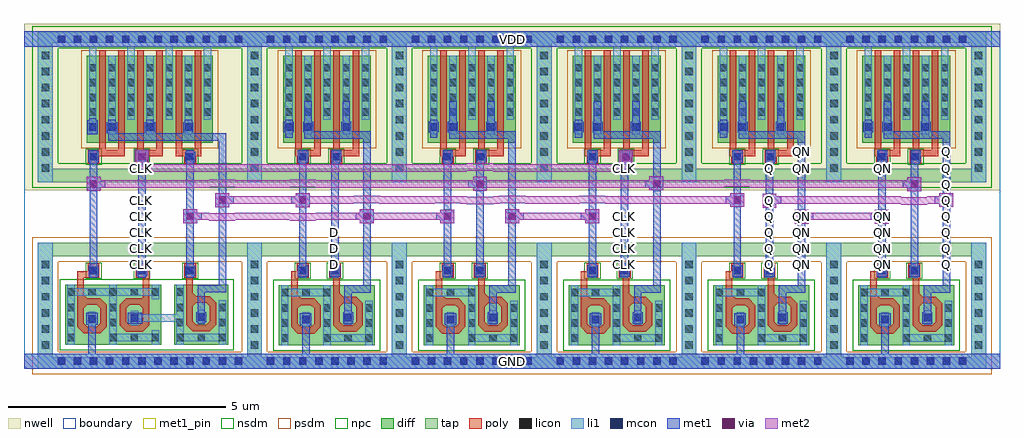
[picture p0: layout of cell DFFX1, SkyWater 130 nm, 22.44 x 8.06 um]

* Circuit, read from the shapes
.subckt DFFX1 CLK D GND Q QN VDD
XM1 n1 n2 GND GND sky130_fd_pr__nfet_01v8 w=2.6 l=0.1481
XM2 n1 CLK n3 GND sky130_fd_pr__nfet_01v8 w=2.52 l=0.1455
XM3 n3 n4 n5 GND sky130_fd_pr__nfet_01v8 w=2.56 l=0.1456
XM4 n6 n5 GND GND sky130_fd_pr__nfet_01v8 w=2.6 l=0.1473
XM5 n6 D n4 GND sky130_fd_pr__nfet_01v8 w=2.56 l=0.1481
XM6 n7 n4 GND GND sky130_fd_pr__nfet_01v8 w=2.6 l=0.1473
XM7 n7 n2 n8 GND sky130_fd_pr__nfet_01v8 w=2.56 l=0.1482
XM8 n9 n8 GND GND sky130_fd_pr__nfet_01v8 w=2.6 l=0.1473
XM9 n9 CLK n2 GND sky130_fd_pr__nfet_01v8 w=2.56 l=0.1481
XM10 n10 n5 GND GND sky130_fd_pr__nfet_01v8 w=2.6 l=0.1472
XM11 n10 Q QN GND sky130_fd_pr__nfet_01v8 w=2.56 l=0.1483
XM12 n11 QN GND GND sky130_fd_pr__nfet_01v8 w=2.6 l=0.1473
XM13 n11 n2 Q GND sky130_fd_pr__nfet_01v8 w=2.56 l=0.1482
XM14 n5 n2 VDD VDD sky130_fd_pr__pfet_01v8 w=2 l=0.15 m=2
XM15 n5 CLK VDD VDD sky130_fd_pr__pfet_01v8 w=2 l=0.15 m=2
XM16 n5 n4 VDD VDD sky130_fd_pr__pfet_01v8 w=2 l=0.15 m=2
XM17 n4 n5 VDD VDD sky130_fd_pr__pfet_01v8 w=2 l=0.15 m=2
XM18 n4 D VDD VDD sky130_fd_pr__pfet_01v8 w=2 l=0.15 m=2
XM19 n8 n4 VDD VDD sky130_fd_pr__pfet_01v8 w=2 l=0.15 m=2
XM20 n8 n2 VDD VDD sky130_fd_pr__pfet_01v8 w=2 l=0.15 m=2
XM21 n2 n8 VDD VDD sky130_fd_pr__pfet_01v8 w=2 l=0.15 m=2
XM22 n2 CLK VDD VDD sky130_fd_pr__pfet_01v8 w=2 l=0.15 m=2
XM23 QN n5 VDD VDD sky130_fd_pr__pfet_01v8 w=2 l=0.15 m=2
XM24 QN Q VDD VDD sky130_fd_pr__pfet_01v8 w=2 l=0.15 m=2
XM25 Q QN VDD VDD sky130_fd_pr__pfet_01v8 w=2 l=0.15 m=2
XM26 Q n2 VDD VDD sky130_fd_pr__pfet_01v8 w=2 l=0.15 m=2
.ends

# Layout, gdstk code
from math import pi, radians
import gdstk
lib = gdstk.Library(unit=1e-6, precision=1e-09)
def R(c, l, rs):  # rectangles x0, y0, x1, y1
    for r in rs: c.add(gdstk.rectangle(r[:2], r[2:], *l))
def A(c, l, x, y, w, h, nx, ny, dx, dy):  # array of equal rectangles
    R(c, l, [(x+i*dx, y+j*dy, x+i*dx+w, y+j*dy+h) for i in range(nx) for j in range(ny)])
def P(c, l, *ps):  # polygons
    for p in ps: c.add(gdstk.Polygon(p, *l))
nwell = (64, 20)
diff = (65, 20)
tap = (65, 44)
poly = (66, 20)
licon = (66, 44)
li1 = (67, 20)
mcon = (67, 44)
met1_pin = (68, 16)
met1 = (68, 20)
via = (68, 44)
met2 = (69, 20)
nsdm = (93, 44)
psdm = (94, 20)
npc = (95, 20)
boundary = (235, 4)

li1_m1_contact = lib.new_cell('li1_M1_contact')
R(li1_m1_contact, li1, [(-0.085,-0.165,0.085,0.165)])
R(li1_m1_contact, mcon, [(-0.085,-0.085,0.085,0.085)])
R(li1_m1_contact, met1, [(-0.115,-0.115,0.115,-0.085), (-0.265,-0.085,0.145,0.085), (-0.115,0.085,0.115,0.115)])

diff_ring_side = lib.new_cell('diff_ring_side')
R(diff_ring_side, nwell, [(-0.435,3.93,0.435,7.75)])
R(diff_ring_side, tap, [(-0.17,-0.17,0.17,2.72), (-0.17,4.11,0.17,7.57)])
A(diff_ring_side, licon, -0.085, 0.285, 0.17, 0.17, 1, 6, 0, 0.37)
A(diff_ring_side, licon, -0.085, 4.355, 0.17, 0.17, 1, 8, 0, 0.37)
R(diff_ring_side, li1, [(-0.17,-0.17,0.17,2.72), (-0.17,4.11,0.17,7.57)])
R(diff_ring_side, met1, [(-0.17,-0.17,0.17,0.17), (-0.17,7.23,0.17,7.57)])
R(diff_ring_side, nsdm, [(-0.295,3.985,0.295,7.695)])
R(diff_ring_side, psdm, [(-0.295,-0.295,0.295,2.845)])

nmos_bottom = lib.new_cell('nmos_bottom')
R(nmos_bottom, diff, [(0,0,1.24,1.38)])
R(nmos_bottom, poly, [(0.43,0.27,0.81,0.42), (0.28,0.42,0.43,0.925), (0.81,0.42,0.96,0.925), (0.43,0.925,0.96,1.075), (0.81,1.075,0.96,1.51)])
P(nmos_bottom, poly, [(0.73,1.075),(0.81,1.075),(0.81,1.155)],
  [(0.28,0.925),(0.43,0.925),(0.43,1.075)],
  [(0.43,0.845),(0.43,0.925),(0.51,0.925)],
  [(0.73,0.925),(0.81,0.925),(0.81,0.845)],
  [(0.43,0.5),(0.43,0.42),(0.51,0.42)],
  [(0.73,0.42),(0.81,0.42),(0.81,0.5)],
  [(0.28,0.42),(0.43,0.42),(0.43,0.27)],
  [(0.81,0.27),(0.81,0.42),(0.96,0.42)])
A(nmos_bottom, licon, 0.05, 1.13, 0.17, 0.17, 3, 1, 0.485, 0)
R(nmos_bottom, licon, [(0.05,0.08,0.22,0.25), (1.02,0.08,1.19,0.25), (0.05,0.43,0.22,0.6), (1.02,0.43,1.19,0.6), (0.535,0.505,0.705,0.675), (0.05,0.77,0.22,0.94), (1.02,0.77,1.19,0.94)])
R(nmos_bottom, li1, [(0.05,0,0.22,1.13), (1.02,0,1.19,1.13), (0.535,0.425,0.705,0.755), (0.05,1.13,1.19,1.3), (0.05,1.3,0.22,1.38), (1.02,1.3,1.19,1.38)])
R(nmos_bottom, nsdm, [(-0.125,-0.125,1.365,1.505)])

pmos2 = lib.new_cell('pmos2')
R(pmos2, nwell, [(0.26,-2.18,1.76,0.18)])
R(pmos2, diff, [(0.44,-2,1.58,0)])
R(pmos2, poly, [(0.72,-2.305,1.31,-2.155), (0.72,-2.155,0.87,0.13), (1.16,-2.155,1.31,0.13)])
A(pmos2, licon, 0.49, -1.38, 0.17, 0.17, 3, 4, 0.44, 0.34)
R(pmos2, li1, [(0.49,-1.465,0.66,0.21), (0.93,-1.465,1.1,0), (1.37,-1.465,1.54,0.21)])
R(pmos2, psdm, [(0.315,-2.125,1.705,0.125)])

poly_li1_contact = lib.new_cell('poly_li1_contact')
R(poly_li1_contact, poly, [(-0.16,-0.14,0.17,0.13)])
R(poly_li1_contact, licon, [(-0.08,-0.09,0.09,0.08)])
R(poly_li1_contact, li1, [(-0.16,-0.09,0.17,0.08)])
R(poly_li1_contact, npc, [(-0.18,-0.19,0.19,0.18)])

nmos_top_trim1 = lib.new_cell('nmos_top_trim1')
R(nmos_top_trim1, diff, [(0,0,1.24,1.38)])
R(nmos_top_trim1, poly, [(0.43,0.31,0.81,0.46), (0.28,0.46,0.43,0.965), (0.81,0.46,0.96,0.965), (0.43,0.965,0.96,1.115), (0.81,1.115,0.96,1.545)])
P(nmos_top_trim1, poly, [(0.73,1.115),(0.81,1.115),(0.81,1.195)],
  [(0.28,0.965),(0.43,0.965),(0.43,1.115)],
  [(0.43,0.885),(0.43,0.965),(0.51,0.965)],
  [(0.73,0.965),(0.81,0.965),(0.81,0.885)],
  [(0.43,0.54),(0.43,0.46),(0.51,0.46)],
  [(0.73,0.46),(0.81,0.46),(0.81,0.54)],
  [(0.28,0.46),(0.43,0.46),(0.43,0.31)],
  [(0.81,0.31),(0.81,0.46),(0.96,0.46)])
A(nmos_top_trim1, licon, 0.05, 0.08, 0.17, 0.17, 3, 1, 0.485, 0)
R(nmos_top_trim1, licon, [(0.05,0.43,0.22,0.6), (1.02,0.43,1.19,0.6), (0.535,0.55,0.705,0.72), (0.05,0.77,0.22,0.94), (1.02,0.77,1.19,0.94), (1.02,1.13,1.19,1.3)])
R(nmos_top_trim1, li1, [(0.05,0,0.22,0.08), (1.02,0,1.19,0.08), (0.05,0.08,1.19,0.25), (0.05,0.25,0.22,1.02), (1.02,0.25,1.19,1.38), (0.535,0.47,0.705,0.805)])
R(nmos_top_trim1, nsdm, [(-0.125,-0.125,1.365,1.505)])

nand2x1_pcell = lib.new_cell('nand2x1_pcell')
R(nand2x1_pcell, nwell, [(0.435,3.93,2.895,7.75)])
R(nand2x1_pcell, diff, [(1.115,5.265,1.345,5.5), (1.995,5.265,2.225,5.5), (0.705,5.295,0.875,5.465)])
R(nand2x1_pcell, tap, [(0.17,-0.17,3.16,-0.15), (0.155,-0.15,3.175,0.085), (0.155,2.4,0.17,2.41), (3.16,2.4,3.175,2.41), (0.155,2.41,3.175,2.71), (0.17,2.71,3.16,2.72), (0.17,4.11,3.16,4.42), (0.17,7.315,3.16,7.57)])
R(nand2x1_pcell, poly, [(0.84,1.875,0.99,2.065), (1.81,1.91,1.96,1.915)])
A(nand2x1_pcell, licon, 0.285, -0.085, 0.17, 0.17, 8, 2, 0.37, 7.4)
R(nand2x1_pcell, licon, [(0.705,5.295,0.875,5.465), (1.145,5.295,1.315,5.465), (2.025,5.295,2.195,5.465)])
R(nand2x1_pcell, li1, [(0.165,-0.17,3.295,0.17), (1.095,0.87,1.265,1.04), (2.065,0.915,2.235,1.085), (1.025,1.995,1.195,2.165), (1.765,1.995,1.935,2.165), (1.025,4.615,1.195,4.785), (1.795,4.615,1.965,4.785), (0.705,5.215,0.875,5.61), (1.145,5.215,1.315,5.61), (2.025,5.215,2.195,5.61), (-0.17,7.23,3.17,7.57)])
A(nand2x1_pcell, mcon, 0.285, -0.085, 0.17, 0.17, 8, 2, 0.37, 7.4)
R(nand2x1_pcell, mcon, [(1.095,0.87,1.265,1.04), (2.065,0.915,2.235,1.085), (1.025,1.995,1.195,2.165), (1.765,1.995,1.935,2.165), (1.025,4.615,1.195,4.785), (1.795,4.615,1.965,4.785), (0.705,5.295,0.875,5.465), (1.145,5.295,1.315,5.465), (2.025,5.295,2.195,5.465)])
R(nand2x1_pcell, met1, [(-0.17,-0.17,3.5,0.17), (1.095,0.17,1.265,0.825), (1.045,0.825,1.31,1.1), (2.035,0.855,2.265,1.12), (2.065,1.12,2.235,1.57), (2.065,1.57,2.675,1.74), (2.505,1.74,2.675,5.115), (0.99,1.935,1.23,2.205), (1.735,1.935,1.97,2.205), (1.025,2.205,1.195,4.56), (1.765,2.205,1.935,4.555), (1.765,4.555,1.97,4.58), (0.995,4.56,1.23,4.845), (1.765,4.58,1.995,4.845), (1.145,5.115,2.675,5.265), (0.705,5.135,0.875,5.265), (0.675,5.265,0.905,5.5), (1.115,5.265,2.675,5.285), (1.115,5.285,1.345,5.5), (1.995,5.285,2.225,5.5), (0.705,5.5,0.875,5.555), (1.145,5.5,1.315,5.98), (2.025,5.5,2.195,5.98), (-0.17,7.23,3.5,7.57)])
R(nand2x1_pcell, nsdm, [(0.045,3.985,3.285,4.545), (0.045,7.19,3.285,7.695)])
R(nand2x1_pcell, psdm, [(0.045,-0.295,3.285,-0.275), (0.03,-0.275,3.3,0.21), (0.03,2.275,0.295,2.285), (3.035,2.275,3.3,2.285), (0.03,2.285,3.3,2.835), (0.045,2.835,3.285,2.845), (0.99,5.14,1.47,5.17), (1.87,5.14,2.35,5.625), (0.58,5.17,1.47,5.59), (0.99,5.59,1.47,5.625)])
nand2x1_pcell.add(gdstk.Reference(diff_ring_side, (0,0)))
nand2x1_pcell.add(gdstk.Reference(nmos_bottom, (1.8,0.365), rotation=pi, x_reflection=True))
nand2x1_pcell.add(gdstk.Reference(pmos2, (0.215,7.02)))
nand2x1_pcell.add(gdstk.Reference(poly_li1_contact, (1.115,4.705), rotation=3*pi/2))
nand2x1_pcell.add(gdstk.Reference(poly_li1_contact, (1.115,2.085), rotation=3*pi/2))
nand2x1_pcell.add(gdstk.Reference(nmos_top_trim1, (2.77,0.365), rotation=pi, x_reflection=True))
nand2x1_pcell.add(gdstk.Reference(pmos2, (1.095,7.02)))
nand2x1_pcell.add(gdstk.Reference(poly_li1_contact, (1.845,2.075), rotation=pi/2))
nand2x1_pcell.add(gdstk.Reference(poly_li1_contact, (1.885,4.705), rotation=3*pi/2))
nand2x1_pcell.add(gdstk.Reference(diff_ring_side, (3.33,0)))

nmos_side_left = lib.new_cell('nmos_side_left')
R(nmos_side_left, diff, [(0,0,1.24,1.38)])
R(nmos_side_left, poly, [(0.435,0.305,0.81,0.455), (0.285,0.455,0.435,0.925), (0.81,0.455,0.96,0.925), (0.435,0.925,0.96,1.075), (0.81,1.075,0.96,1.51)])
P(nmos_side_left, poly, [(0.285,0.925),(0.435,0.925),(0.435,1.075)],
  [(0.435,0.845),(0.435,0.925),(0.515,0.925)],
  [(0.73,0.925),(0.81,0.925),(0.81,0.845)],
  [(0.435,0.535),(0.435,0.455),(0.515,0.455)],
  [(0.73,0.455),(0.81,0.455),(0.81,0.535)],
  [(0.285,0.455),(0.435,0.455),(0.435,0.305)],
  [(0.81,0.305),(0.81,0.455),(0.96,0.455)])
A(nmos_side_left, licon, 0.05, 0.08, 0.17, 0.17, 3, 2, 0.485, 1.05)
R(nmos_side_left, licon, [(0.05,0.43,0.22,0.6), (0.54,0.535,0.71,0.705), (0.05,0.77,0.22,0.94)])
R(nmos_side_left, li1, [(0.05,0,0.22,0.08), (1.02,0,1.19,0.08), (0.05,0.08,1.19,0.25), (0.05,0.25,0.22,1.13), (1.02,0.25,1.19,0.33), (0.54,0.455,0.71,0.785), (1.02,1.05,1.19,1.13), (0.05,1.13,1.19,1.3), (0.05,1.3,0.22,1.38), (1.02,1.3,1.19,1.38)])
R(nmos_side_left, nsdm, [(-0.125,-0.125,1.365,1.505)])

nand3x1_pcell = lib.new_cell('nand3x1_pcell')
R(nand3x1_pcell, nwell, [(0.435,3.93,4.375,5.28), (0.435,5.28,1.1,5.295), (1.395,5.28,4.375,5.495), (0.435,5.295,1.025,5.465), (1.145,5.295,1.315,5.465), (0.435,5.465,1.1,5.495), (0.435,5.495,4.375,7.75)])
A(nand3x1_pcell, diff, 1.445, 5.295, 0.17, 0.17, 3, 1, 0.88, 0)
R(nand3x1_pcell, diff, [(1.005,5.295,1.175,5.465)])
R(nand3x1_pcell, tap, [(0.17,-0.17,4.64,0.085), (0.17,2.41,4.64,2.72), (0.17,4.11,4.64,4.42), (0.17,7.315,4.64,7.57)])
R(nand3x1_pcell, poly, [(0.735,1.885,0.885,1.915), (2.235,1.885,2.385,1.915), (0.735,1.915,0.975,2.065), (2.355,1.915,2.385,2.065)])
A(nand3x1_pcell, licon, 0.285, -0.085, 0.17, 0.17, 12, 2, 0.37, 7.4)
A(nand3x1_pcell, licon, 1.445, 5.295, 0.17, 0.17, 3, 1, 0.88, 0)
R(nand3x1_pcell, licon, [(1.005,5.295,1.175,5.465)])
A(nand3x1_pcell, li1, 1.025, 1.995, 0.17, 0.17, 3, 2, 1.11, 2.62)
R(nand3x1_pcell, li1, [(0.17,-0.17,4.65,0.17), (0.99,0.88,1.16,1.05), (1.965,0.91,3.015,1.08), (3.5,0.925,3.67,1.095), (1.005,5.215,1.175,5.6), (1.445,5.215,1.615,5.56), (2.325,5.215,2.495,5.585), (3.205,5.215,3.375,5.56), (0.07,7.23,4.715,7.57)])
A(nand3x1_pcell, mcon, 0.285, -0.085, 0.17, 0.17, 12, 2, 0.37, 7.4)
A(nand3x1_pcell, mcon, 1.025, 1.995, 0.17, 0.17, 3, 2, 1.11, 2.62)
A(nand3x1_pcell, mcon, 1.445, 5.295, 0.17, 0.17, 3, 1, 0.88, 0)
R(nand3x1_pcell, mcon, [(0.99,0.88,1.16,1.05), (1.965,0.91,2.135,1.08), (3.5,0.925,3.67,1.095), (1.005,5.295,1.175,5.465)])
A(nand3x1_pcell, met1, 1.025, 1.915, 0.17, 0.04, 3, 1, 1.11, 0)
A(nand3x1_pcell, met1, 1.445, 5.495, 0.17, 0.06, 3, 1, 0.88, 0)
R(nand3x1_pcell, met1, [(0.17,-0.17,4.64,0.17), (0.99,0.17,1.16,0.835), (0.945,0.835,1.205,1.11), (1.89,0.865,2.225,1.115), (3.5,0.865,3.67,0.895), (3.47,0.895,3.7,1.125), (3.5,1.125,3.67,1.58), (3.5,1.58,4.155,1.75), (3.985,1.75,4.155,5.07), (0.995,1.955,1.225,2.195), (2.105,1.955,2.34,2.195), (3.215,1.955,3.445,2.195), (1.025,2.195,1.195,4.575), (2.135,2.195,2.305,4.585), (3.245,2.195,3.415,4.57), (3.215,4.57,3.445,4.815), (0.99,4.575,1.23,4.835), (2.105,4.585,2.335,4.815), (2.135,4.815,2.305,4.845), (3.245,4.815,3.415,4.845), (1.025,4.835,1.195,4.845), (1.445,5.07,4.155,5.24), (0.965,5.215,1.205,5.535), (1.415,5.24,1.65,5.495), (2.29,5.24,2.53,5.495), (3.175,5.24,3.405,5.495), (1.005,5.535,1.175,5.58), (0.17,7.23,4.64,7.57)])
R(nand3x1_pcell, nsdm, [(2.79,0.25,2.84,1.88), (0.045,3.985,4.765,4.545), (0.045,7.19,4.765,7.695)])
R(nand3x1_pcell, psdm, [(0.045,-0.295,4.765,0.21), (0.045,2.285,4.765,2.845), (0.88,5.17,1.74,5.59), (2.2,5.17,2.62,5.59), (3.08,5.17,3.5,5.59)])
nand3x1_pcell.add(gdstk.Reference(diff_ring_side, (0,0)))
nand3x1_pcell.add(gdstk.Reference(nmos_bottom, (1.695,0.375), rotation=pi, x_reflection=True))
nand3x1_pcell.add(gdstk.Reference(pmos2, (0.515,7.02)))
nand3x1_pcell.add(gdstk.Reference(poly_li1_contact, (1.115,4.705), rotation=3*pi/2))
nand3x1_pcell.add(gdstk.Reference(poly_li1_contact, (1.105,2.075), rotation=pi/2))
nand3x1_pcell.add(gdstk.Reference(nmos_side_left, (1.425,0.375)))
nand3x1_pcell.add(gdstk.Reference(pmos2, (1.395,7.02)))
nand3x1_pcell.add(gdstk.Reference(pmos2, (2.275,7.02)))
nand3x1_pcell.add(gdstk.Reference(poly_li1_contact, (2.215,2.075), rotation=pi/2))
nand3x1_pcell.add(gdstk.Reference(poly_li1_contact, (2.215,4.695), rotation=pi/2))
nand3x1_pcell.add(gdstk.Reference(nmos_top_trim1, (4.205,0.375), rotation=pi, x_reflection=True))
nand3x1_pcell.add(gdstk.Reference(poly_li1_contact, (3.325,2.075), rotation=pi/2))
nand3x1_pcell.add(gdstk.Reference(poly_li1_contact, (3.335,4.705), rotation=3*pi/2))
nand3x1_pcell.add(gdstk.Reference(diff_ring_side, (4.81,0)))

dffx1_pcell = lib.new_cell('dffx1_pcell')
R(dffx1_pcell, nwell, [(2.305,4.525,2.38,4.55)])
R(dffx1_pcell, met1, [(9.085,3.165,9.405,3.485), (3.175,3.17,3.495,3.49), (7.235,3.17,7.555,3.49), (10.575,3.17,10.895,3.49), (12.415,3.17,12.735,3.49), (3.91,3.54,4.23,3.86), (5.755,3.54,6.075,3.86), (15.75,3.545,16.07,3.865), (19.82,3.91,20.14,4.23), (0.955,3.915,1.275,4.235), (9.835,3.915,10.155,4.235), (13.89,3.925,14.21,4.245), (13.185,4.525,13.505,4.845), (2.06,4.54,2.38,4.86)])
R(dffx1_pcell, via, [(9.17,3.25,9.32,3.4), (3.26,3.255,3.41,3.405), (7.32,3.255,7.47,3.405), (10.66,3.255,10.81,3.405), (12.5,3.255,12.65,3.405), (3.995,3.625,4.145,3.775), (5.84,3.625,5.99,3.775), (15.835,3.63,15.985,3.78), (19.905,3.995,20.055,4.145), (1.04,4,1.19,4.15), (9.92,4,10.07,4.15), (13.975,4.01,14.125,4.16), (13.27,4.61,13.42,4.76), (2.145,4.625,2.295,4.775)])
R(dffx1_pcell, met2, [(9.085,3.165,9.405,3.245), (3.175,3.17,3.495,3.245), (7.235,3.17,7.555,3.245), (10.575,3.17,10.895,3.245), (12.415,3.17,12.735,3.245), (3.77,3.23,4.37,3.245), (5.615,3.23,6.215,3.245), (3.175,3.245,9.405,3.4), (10.575,3.245,12.735,3.415), (3.175,3.4,3.77,3.415), (4.37,3.4,5.615,3.415), (6.215,3.4,9.405,3.415), (3.175,3.415,3.495,3.49), (7.235,3.415,7.555,3.49), (9.085,3.415,9.405,3.485), (10.575,3.415,10.895,3.49), (12.415,3.415,12.735,3.49), (3.91,3.54,4.23,3.615), (5.755,3.54,6.075,3.615), (15.75,3.545,16.07,3.615), (9.695,3.605,10.295,3.615), (3.91,3.615,7.095,3.63), (7.695,3.615,8.945,3.625), (9.545,3.615,10.435,3.625), (11.035,3.615,12.275,3.63), (12.875,3.615,16.07,3.63), (7.695,3.625,10.435,3.63), (3.91,3.63,16.07,3.775), (3.91,3.775,9.695,3.785), (10.295,3.775,16.07,3.785), (3.91,3.785,4.23,3.86), (5.755,3.785,6.075,3.86), (7.095,3.785,7.695,3.8), (8.945,3.785,9.545,3.795), (10.435,3.785,11.035,3.8), (12.275,3.785,12.875,3.8), (15.75,3.785,16.07,3.865), (19.82,3.91,20.14,3.985), (0.955,3.915,1.275,3.985), (9.835,3.915,10.155,3.985), (13.89,3.925,14.21,3.985), (0.955,3.985,3.77,4), (4.37,3.985,5.615,4), (6.215,3.985,15.61,4), (16.21,3.985,20.14,4.005), (0.955,4,15.61,4.005), (0.955,4.005,20.14,4.155), (0.955,4.155,1.275,4.235), (3.77,4.155,4.37,4.17), (5.615,4.155,6.215,4.17), (9.835,4.155,10.155,4.235), (13.89,4.155,14.21,4.245), (15.61,4.155,16.21,4.175), (19.82,4.155,20.14,4.23), (2.135,4.355,9.695,4.375), (10.295,4.355,13.425,4.375), (2.135,4.375,13.425,4.525), (2.135,4.525,2.38,4.54), (9.695,4.525,10.295,4.545), (13.185,4.525,13.505,4.845), (2.06,4.54,2.38,4.86)])
dffx1_pcell.add(gdstk.Reference(li1_m1_contact, (1.11,4.07), rotation=pi))
dffx1_pcell.add(gdstk.Reference(li1_m1_contact, (3.33,3.33), rotation=pi))
dffx1_pcell.add(gdstk.Reference(li1_m1_contact, (4.07,3.7), rotation=pi))
dffx1_pcell.add(gdstk.Reference(nand2x1_pcell, (4.81,0)))
dffx1_pcell.add(gdstk.Reference(nand3x1_pcell, (0,0)))
dffx1_pcell.add(gdstk.Reference(li1_m1_contact, (9.99,4.07)))
dffx1_pcell.add(gdstk.Reference(li1_m1_contact, (7.4,3.33)))
dffx1_pcell.add(gdstk.Reference(li1_m1_contact, (5.92,3.7)))
dffx1_pcell.add(gdstk.Reference(li1_m1_contact, (9.25,3.33)))
dffx1_pcell.add(gdstk.Reference(li1_m1_contact, (10.73,3.33), rotation=pi))
dffx1_pcell.add(gdstk.Reference(nand2x1_pcell, (8.14,0)))
dffx1_pcell.add(gdstk.Reference(li1_m1_contact, (14.06,4.07)))
dffx1_pcell.add(gdstk.Reference(li1_m1_contact, (15.91,3.7)))
dffx1_pcell.add(gdstk.Reference(li1_m1_contact, (12.58,3.33)))
dffx1_pcell.add(gdstk.Reference(nand2x1_pcell, (11.47,0)))
dffx1_pcell.add(gdstk.Reference(nand2x1_pcell, (14.8,0)))
dffx1_pcell.add(gdstk.Reference(li1_m1_contact, (19.98,4.07)))
dffx1_pcell.add(gdstk.Reference(nand2x1_pcell, (18.13,0)))

dffx1 = lib.new_cell('DFFX1')
R(dffx1, nwell, [(0,4.11,22.44,7.94)])
R(dffx1, tap, [(0.32,0,22.12,0.03), (0.32,7.75,22.12,7.76)])
R(dffx1, li1, [(0,0,22.44,0.35), (0,7.41,22.44,7.76)])
A(dffx1, met1_pin, 2.625, 2.315, 0.17, 0.17, 1, 5, 0, 0.37)
A(dffx1, met1_pin, 7.065, 2.315, 0.17, 0.17, 1, 3, 0, 0.37)
A(dffx1, met1_pin, 13.725, 2.315, 0.17, 0.17, 1, 4, 0, 0.37)
A(dffx1, met1_pin, 17.055, 2.315, 0.17, 0.17, 1, 5, 0, 0.37)
A(dffx1, met1_pin, 17.795, 2.315, 0.17, 0.17, 1, 4, 0, 0.37)
A(dffx1, met1_pin, 19.645, 2.315, 0.17, 0.17, 1, 4, 0, 0.37)
A(dffx1, met1_pin, 21.125, 2.315, 0.17, 0.17, 1, 8, 0, 0.37)
R(dffx1, met1_pin, [(0,0,22.44,0.35), (2.625,4.535,2.795,4.705), (13.725,4.535,13.895,4.705), (17.055,4.535,17.225,4.705), (17.795,4.535,17.965,4.705), (19.645,4.535,19.815,4.705), (17.795,4.905,17.965,5.075), (0,7.41,22.44,7.76)])
A(dffx1, met1, 2.625, 2.315, 0.17, 0.17, 1, 5, 0, 0.37)
A(dffx1, met1, 7.065, 2.315, 0.17, 0.17, 1, 3, 0, 0.37)
A(dffx1, met1, 13.725, 2.315, 0.17, 0.17, 1, 4, 0, 0.37)
A(dffx1, met1, 17.055, 2.315, 0.17, 0.17, 1, 4, 0, 0.37)
A(dffx1, met1, 17.795, 2.315, 0.17, 0.17, 1, 3, 0, 0.37)
A(dffx1, met1, 19.645, 2.315, 0.17, 0.17, 1, 3, 0, 0.37)
A(dffx1, met1, 21.125, 2.315, 0.17, 0.17, 1, 4, 0, 0.37)
A(dffx1, met1, 21.125, 4.165, 0.17, 0.17, 1, 3, 0, 0.37)
R(dffx1, met1, [(0,0,22.44,0.35), (17.72,3.335,18.04,3.655), (19.565,3.335,19.885,3.655), (16.98,3.705,17.3,4.025), (21.045,3.725,21.365,4.045), (2.625,4.535,2.795,4.705), (13.725,4.535,13.895,4.705), (17.055,4.535,17.225,4.705), (17.795,4.535,17.965,4.705), (19.645,4.535,19.815,4.705), (17.795,4.905,17.965,5.075), (0,7.41,22.44,7.76)])
R(dffx1, via, [(17.805,3.42,17.955,3.57), (19.65,3.42,19.8,3.57), (17.065,3.79,17.215,3.94), (21.13,3.81,21.28,3.96)])
R(dffx1, met2, [(17.72,3.335,18.04,3.425), (19.565,3.335,19.885,3.425), (17.72,3.425,19.885,3.595), (17.72,3.595,18.04,3.655), (19.565,3.595,19.885,3.655), (16.98,3.705,17.3,3.795), (21.045,3.725,21.365,3.795), (20.17,3.78,20.77,3.795), (16.98,3.795,21.365,3.95), (16.98,3.95,20.17,3.965), (20.77,3.95,21.365,3.965), (16.98,3.965,17.3,4.025), (21.045,3.965,21.365,4.045)])
R(dffx1, nsdm, [(0.195,7.625,22.245,7.885)])
R(dffx1, psdm, [(0.195,-0.125,22.245,0.155)])
R(dffx1, boundary, [(0,0,22.44,7.76)])
dffx1.add(gdstk.Reference(li1_m1_contact, (21.21,3.88)))
dffx1.add(gdstk.Reference(li1_m1_contact, (17.14,3.88), rotation=pi))
dffx1.add(gdstk.Reference(li1_m1_contact, (19.73,3.51)))
dffx1.add(gdstk.Reference(li1_m1_contact, (17.88,3.51), rotation=pi))
dffx1.add(gdstk.Reference(dffx1_pcell, (0.49,0.18)))
dffx1.add(gdstk.Label('Q', (17.14,2.4), layer=68, texttype=5))
dffx1.add(gdstk.Label('Q', (17.14,2.77), layer=68, texttype=5))
dffx1.add(gdstk.Label('Q', (17.14,3.14), layer=68, texttype=5))
dffx1.add(gdstk.Label('Q', (17.14,3.51), layer=68, texttype=5))
dffx1.add(gdstk.Label('Q', (17.14,3.88), layer=68, texttype=5))
dffx1.add(gdstk.Label('Q', (17.14,4.62), layer=68, texttype=5))
dffx1.add(gdstk.Label('Q', (21.21,2.4), layer=68, texttype=5))
dffx1.add(gdstk.Label('Q', (21.21,2.77), layer=68, texttype=5))
dffx1.add(gdstk.Label('Q', (21.21,3.14), layer=68, texttype=5))
dffx1.add(gdstk.Label('Q', (21.21,3.51), layer=68, texttype=5))
dffx1.add(gdstk.Label('Q', (21.21,4.99), layer=68, texttype=5))
dffx1.add(gdstk.Label('Q', (21.21,4.62), layer=68, texttype=5))
dffx1.add(gdstk.Label('Q', (21.21,4.25), layer=68, texttype=5))
dffx1.add(gdstk.Label('Q', (21.21,3.88), layer=68, texttype=5))
dffx1.add(gdstk.Label('QN', (17.88,4.99), layer=68, texttype=5))
dffx1.add(gdstk.Label('QN', (17.88,4.62), layer=68, texttype=5))
dffx1.add(gdstk.Label('QN', (17.88,3.51), layer=68, texttype=5))
dffx1.add(gdstk.Label('QN', (17.88,3.14), layer=68, texttype=5))
dffx1.add(gdstk.Label('QN', (17.88,2.77), layer=68, texttype=5))
dffx1.add(gdstk.Label('QN', (17.88,2.4), layer=68, texttype=5))
dffx1.add(gdstk.Label('QN', (19.73,2.4), layer=68, texttype=5))
dffx1.add(gdstk.Label('QN', (19.73,2.77), layer=68, texttype=5))
dffx1.add(gdstk.Label('QN', (19.73,3.14), layer=68, texttype=5))
dffx1.add(gdstk.Label('QN', (19.73,4.62), layer=68, texttype=5))
dffx1.add(gdstk.Label('QN', (19.73,3.51), layer=68, texttype=5))
dffx1.add(gdstk.Label('D', (7.15,2.4), layer=68, texttype=5))
dffx1.add(gdstk.Label('D', (7.15,2.77), layer=68, texttype=5))
dffx1.add(gdstk.Label('D', (7.15,3.14), layer=68, texttype=5))
dffx1.add(gdstk.Label('CLK', (13.81,4.62), layer=68, texttype=5))
dffx1.add(gdstk.Label('CLK', (13.81,3.51), layer=68, texttype=5))
dffx1.add(gdstk.Label('CLK', (13.81,3.14), layer=68, texttype=5))
dffx1.add(gdstk.Label('CLK', (13.81,2.77), layer=68, texttype=5))
dffx1.add(gdstk.Label('CLK', (13.81,2.4), layer=68, texttype=5))
dffx1.add(gdstk.Label('CLK', (2.71,2.4), layer=68, texttype=5))
dffx1.add(gdstk.Label('CLK', (2.71,2.77), layer=68, texttype=5))
dffx1.add(gdstk.Label('CLK', (2.71,3.14), layer=68, texttype=5))
dffx1.add(gdstk.Label('CLK', (2.71,3.51), layer=68, texttype=5))
dffx1.add(gdstk.Label('CLK', (2.71,3.88), layer=68, texttype=5))
dffx1.add(gdstk.Label('CLK', (2.71,4.62), layer=68, texttype=5))
dffx1.add(gdstk.Label('VDD', (11.22,7.585), layer=68, texttype=5))
dffx1.add(gdstk.Label('GND', (11.22,0.175), layer=68, texttype=5))

lib.write_gds('DFFX1.gds')
